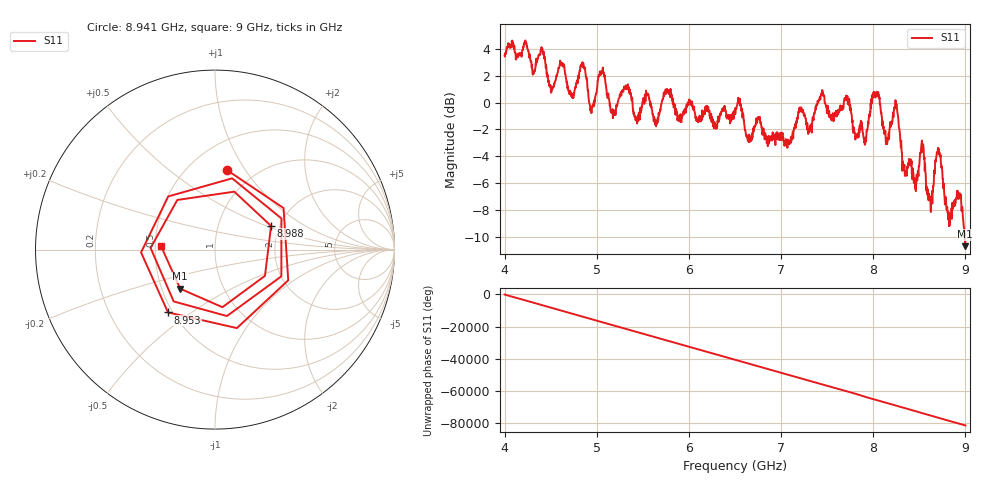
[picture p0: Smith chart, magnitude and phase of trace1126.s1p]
! Created with skrf 1.8.0 (http://scikit-rf.org).
# Hz S RI R 50.0
!freq ReS11 ImS11
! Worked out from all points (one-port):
!   1601 points, 4 GHz to 9 GHz, reference 50 ohm
!   lowest |S11| = -10.7 dB at 8.997 GHz (marker M1), VSWR 1.82, Z = 31.1 - j14.8 ohm
!   |S11| at or under -10 dB: 8.990781 GHz to 8.991579 GHz (797.8 kHz wide, 0.00887 % of centre); 8.994661 GHz to end of sweep
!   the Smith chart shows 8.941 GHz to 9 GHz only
!   S11 on the Smith chart (normalised r, x): 8.941 GHz: 0.75, +0.83; 8.953 GHz: 0.47, -0.41; 8.988 GHz: 1.81, +0.54; 9 GHz: 0.54, +0.02
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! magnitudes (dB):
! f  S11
! 4 GHz  3.5
! 4.409 GHz  4.0
! 4.509 GHz  0.8
! 4.625 GHz  2.9
! 4.728 GHz  0.6
! 4.85 GHz  2.6
! 4.941 GHz  -0.8
! 5.05 GHz  2.3
! 5.25 GHz  0.6
! 5.875 GHz  -1.3
! 6.5 GHz  -0.4
! 7.125 GHz  -2.3
! 7.444 GHz  0.6
! 7.75 GHz  -0.2
! 7.909 GHz  -3.1
! 8.044 GHz  0.5
! 8.147 GHz  -2.6
! 8.247 GHz  -0.4
! 8.375 GHz  -4.9
! 8.531 GHz  -3.5
! 8.619 GHz  -7.1
! 8.706 GHz  -3.6
! 8.819 GHz  -8.2
! 8.941 GHz  -7.0
! 8.953 GHz  -7.2
! 8.988 GHz  -9.4
! 8.997 GHz  -10.7
! 9 GHz  -10.4
